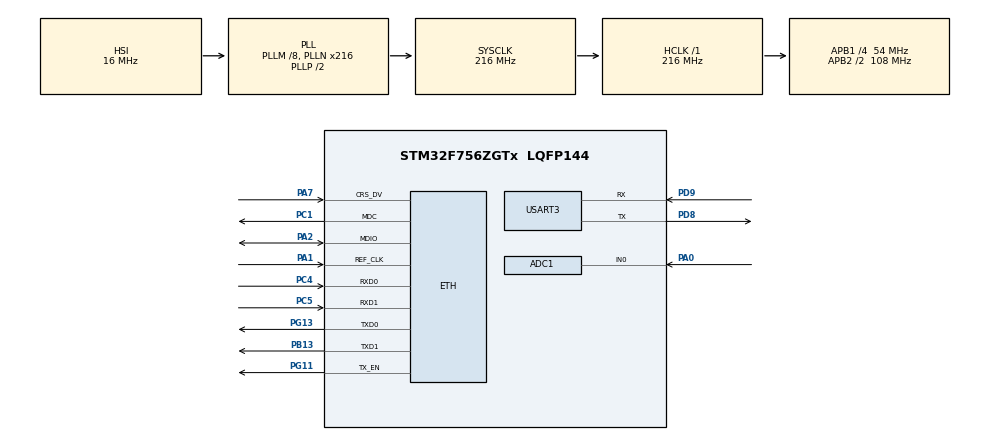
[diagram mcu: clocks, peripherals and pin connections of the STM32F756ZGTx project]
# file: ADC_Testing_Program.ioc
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ADC1.Channel-2\#ChannelRegularConversion=ADC_CHANNEL_0
ADC1.ContinuousConvMode=ENABLE
ADC1.DMAContinuousRequests=ENABLE
ADC1.EOCSelection=ADC_EOC_SEQ_CONV
ADC1.NbrOfConversionFlag=1
ADC1.Rank-2\#ChannelRegularConversion=1
ADC1.SamplingTime-2\#ChannelRegularConversion=ADC_SAMPLETIME_3CYCLES
ADC1.master=1
CRC.DefaultPolynomialUse=DEFAULT_POLYNOMIAL_DISABLE
CRC.InputDataInversionMode=CRC_INPUTDATA_INVERSION_BYTE
CRC.OutputDataInversionMode=CRC_OUTPUTDATA_INVERSION_ENABLE
Dma.ADC1.0.Direction=DMA_PERIPH_TO_MEMORY
Dma.ADC1.0.FIFOMode=DMA_FIFOMODE_DISABLE
Dma.ADC1.0.Instance=DMA2_Stream0
Dma.ADC1.0.MemDataAlignment=DMA_MDATAALIGN_HALFWORD
Dma.ADC1.0.MemInc=DMA_MINC_ENABLE
Dma.ADC1.0.Mode=DMA_NORMAL
Dma.ADC1.0.PeriphDataAlignment=DMA_PDATAALIGN_HALFWORD
Dma.ADC1.0.PeriphInc=DMA_PINC_DISABLE
Dma.ADC1.0.Priority=DMA_PRIORITY_LOW
Dma.Request0=ADC1
ETH.MediaInterface=HAL_ETH_RMII_MODE
FREERTOS.Tasks01=defaultTask,24,256,StartDefaultTask,Default,NULL,Dynamic,NULL,NULL
FREERTOS.configENABLE_FPU=1
FREERTOS.configTOTAL_HEAP_SIZE=0x10000
FREERTOS.configUSE_NEWLIB_REENTRANT=1
LWIP.BSP.number=1
LWIP.GATEWAY_ADDRESS=192.168.010.001
LWIP.IP_ADDRESS=192.168.010.002
LWIP.LWIP_DHCP=0
LWIP.NETMASK_ADDRESS=255.255.255.000
LWIP.Version=v2.1.2_Cube
LWIP0.BSP.STBoard=false
LWIP0.BSP.api=BSP_COMPONENT_DRIVER
LWIP0.BSP.component=LAN8742
LWIP0.BSP.instance=LAN8742
LWIP0.BSP.name=Driver_PHY
LWIP0.BSP.semaphore=S_LAN8742
LWIP0.BSP.solution=LAN8742
Mcu.Family=STM32F7
Mcu.Name=STM32F756ZGTx
Mcu.Package=LQFP144
NVIC.DMA2_Stream0_IRQn=true\:5\:0\:false\:false\:true\:true\:false\:true\:true
NVIC.ETH_IRQn=true\:5\:0\:true\:false\:true\:true\:true\:true\:true
NVIC.PriorityGroup=NVIC_PRIORITYGROUP_4
NVIC.TIM6_DAC_IRQn=true\:15\:0\:false\:false\:true\:false\:false\:true\:true
NVIC.TimeBase=TIM6_DAC_IRQn
NVIC.TimeBaseIP=TIM6
PA0/WKUP.Signal=ADCx_IN0
PA1.Mode=RMII
PA1.Signal=ETH_REF_CLK
PA2.Mode=RMII
PA2.Signal=ETH_MDIO
PA7.Mode=RMII
PA7.Signal=ETH_CRS_DV
PB10.GPIO_Pu=GPIO_PULLUP
PB10.Signal=I2C2_SCL
PB11.GPIO_Pu=GPIO_PULLUP
PB11.Signal=I2C2_SDA
PB13.Mode=RMII
PB13.Signal=ETH_TXD1
PB9.GPIO_Pu=GPIO_PULLUP
PB9.Signal=I2C1_SDA
PC1.Mode=RMII
PC1.Signal=ETH_MDC
PC10.Signal=UART4_TX
PC4.Mode=RMII
PC4.Signal=ETH_RXD0
PC5.Mode=RMII
PC5.Signal=ETH_RXD1
PD8.Mode=Asynchronous
PD8.Signal=USART3_TX
PD9.Mode=Asynchronous
PD9.Signal=USART3_RX
PG11.Mode=RMII
PG11.Signal=ETH_TX_EN
PG13.Mode=RMII
PG13.Signal=ETH_TXD0
ProjectManager.HeapSize=0x200
ProjectManager.StackSize=0x400
ProjectManager.TargetToolchain=STM32CubeIDE
RCC.AHBFreq_Value=216000000
RCC.APB1CLKDivider=RCC_HCLK_DIV4
RCC.APB1Freq_Value=54000000
RCC.APB1TimFreq_Value=108000000
RCC.APB2CLKDivider=RCC_HCLK_DIV2
RCC.APB2Freq_Value=108000000
RCC.APB2TimFreq_Value=216000000
RCC.CortexFreq_Value=216000000
RCC.HCLKFreq_Value=216000000
RCC.HSE_VALUE=25000000
RCC.HSI_VALUE=16000000
RCC.LSE_VALUE=32768
RCC.PLLM=8
RCC.PLLN=216
RCC.SYSCLKFreq_VALUE=216000000
RCC.SYSCLKSource=RCC_SYSCLKSOURCE_PLLCLK
RCC.USBFreq_Value=216000000
RCC.VCOOutputFreq_Value=432000000
SH.ADCx_IN0.0=ADC1_IN0,IN0
USART3.VirtualMode-Asynchronous=VM_ASYNC
VP_CRC_VS_CRC.Mode=CRC_Activate
VP_FREERTOS_VS_CMSIS_V2.Mode=CMSIS_V2
VP_LWIP_VS_Enabled.Mode=Enabled
VP_SYS_VS_tim6.Mode=TIM6
board=custom

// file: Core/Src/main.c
/* USER CODE BEGIN Header */
/**
  ******************************************************************************
  * @file           : main.c
  * @brief          : Main program body
  ******************************************************************************
  * @attention
  *
  * Copyright (c) 2026 STMicroelectronics.
  * All rights reserved.
  *
  * This software is licensed under terms that can be found in the LICENSE file
  * in the root directory of this software component.
  * If no LICENSE file comes with this software, it is provided AS-IS.
  *
  ******************************************************************************
  */
/* USER CODE END Header */
#include "main.h"
#include "cmsis_os.h"
#include "adc.h"
#include "crc.h"
#include "dma.h"
#include "lwip.h"
#include "usart.h"
#include "gpio.h"

/* USER CODE BEGIN PV */
extern TaskHandle_t TimerTaskHandle;
/* USER CODE END PV */

void SystemClock_Config(void);
void MX_FREERTOS_Init(void);

int main(void)
{

  /* MCU Configuration--------------------------------------------------------*/

  /* Reset of all peripherals, Initializes the Flash interface and the Systick. */
  HAL_Init();

  /* Configure the system clock */
  SystemClock_Config();

  /* Initialize all configured peripherals */
  MX_GPIO_Init();
  MX_DMA_Init();
  MX_USART3_UART_Init();
  MX_CRC_Init();
  MX_ADC1_Init();

  /* Init scheduler */
  osKernelInitialize();  /* Call init function for freertos objects (in cmsis_os2.c) */
  MX_FREERTOS_Init();

  /* Start scheduler */
  osKernelStart();

  /* We should never get here as control is now taken by the scheduler */

  /* Infinite loop */
  while (1)
  {

  }
}

void SystemClock_Config(void)
{
  RCC_OscInitTypeDef RCC_OscInitStruct = {0};
  RCC_ClkInitTypeDef RCC_ClkInitStruct = {0};

  /** Configure the main internal regulator output voltage
  */
  __HAL_RCC_PWR_CLK_ENABLE();
  __HAL_PWR_VOLTAGESCALING_CONFIG(PWR_REGULATOR_VOLTAGE_SCALE1);

  /** Initializes the RCC Oscillators according to the specified parameters
  * in the RCC_OscInitTypeDef structure.
  */
  RCC_OscInitStruct.OscillatorType = RCC_OSCILLATORTYPE_HSI;
  RCC_OscInitStruct.HSIState = RCC_HSI_ON;
  RCC_OscInitStruct.HSICalibrationValue = RCC_HSICALIBRATION_DEFAULT;
  RCC_OscInitStruct.PLL.PLLState = RCC_PLL_ON;
  RCC_OscInitStruct.PLL.PLLSource = RCC_PLLSOURCE_HSI;
  RCC_OscInitStruct.PLL.PLLM = 8;
  RCC_OscInitStruct.PLL.PLLN = 216;
  RCC_OscInitStruct.PLL.PLLP = RCC_PLLP_DIV2;
  RCC_OscInitStruct.PLL.PLLQ = 2;
  if (HAL_RCC_OscConfig(&RCC_OscInitStruct) != HAL_OK)
  {
    Error_Handler();
  }

  /** Activate the Over-Drive mode
  */
  if (HAL_PWREx_EnableOverDrive() != HAL_OK)
  {
    Error_Handler();
  }

  /** Initializes the CPU, AHB and APB buses clocks
  */
  RCC_ClkInitStruct.ClockType = RCC_CLOCKTYPE_HCLK|RCC_CLOCKTYPE_SYSCLK
                              |RCC_CLOCKTYPE_PCLK1|RCC_CLOCKTYPE_PCLK2;
  RCC_ClkInitStruct.SYSCLKSource = RCC_SYSCLKSOURCE_PLLCLK;
  RCC_ClkInitStruct.AHBCLKDivider = RCC_SYSCLK_DIV1;
  RCC_ClkInitStruct.APB1CLKDivider = RCC_HCLK_DIV4;
  RCC_ClkInitStruct.APB2CLKDivider = RCC_HCLK_DIV2;

  if (HAL_RCC_ClockConfig(&RCC_ClkInitStruct, FLASH_LATENCY_7) != HAL_OK)
  {
    Error_Handler();
  }
}

void HAL_TIM_PeriodElapsedCallback(TIM_HandleTypeDef *htim)
{
  if (htim->Instance == TIM6)
  {
    HAL_IncTick();
  }
}

void Error_Handler(void)
{
  __disable_irq();
  while (1)
  {
  }
}

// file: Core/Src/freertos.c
/* USER CODE BEGIN Header */
/**
  ******************************************************************************
  * File Name          : freertos.c
  * Description        : Code for freertos applications
  ******************************************************************************
  * @attention
  *
  * Copyright (c) 2026 STMicroelectronics.
  * All rights reserved.
  *
  * This software is licensed under terms that can be found in the LICENSE file
  * in the root directory of this software component.
  * If no LICENSE file comes with this software, it is provided AS-IS.
  *
  ******************************************************************************
  */
/* USER CODE END Header */

#include "FreeRTOS.h"
#include "task.h"
#include "main.h"
#include "cmsis_os.h"

/* USER CODE BEGIN Includes */
#include "uut_task.h"
#include "pc_test_uut.h"
#include "queue.h"
#include "lwip/udp.h"
#include <string.h>
/* USER CODE END Includes */

/* USER CODE BEGIN PD */
#define QUEUE_COUNT     5
#define QUEUE_ITEM_SIZE sizeof(packet_t)
/* USER CODE END PD */

/* USER CODE BEGIN Variables */
TaskHandle_t  adcTaskHandle;
QueueHandle_t adcQueueHandle;
uint16_t      g_pc_port;
ip_addr_t     g_pc_ip_addr;
/* USER CODE END Variables */
/* Definitions for defaultTask */
osThreadId_t defaultTaskHandle;
const osThreadAttr_t defaultTask_attributes = {
  .name = "defaultTask",
  .stack_size = 256 * 4,
  .priority = (osPriority_t) osPriorityNormal,
};

/* USER CODE BEGIN FunctionPrototypes */

void StartADCTask(void *argument);
void udp_listener_init(void);
void udp_receive_callback(void *arg, struct udp_pcb *upcb, struct pbuf *p,
                          const ip_addr_t *addr, u16_t port);
/* USER CODE END FunctionPrototypes */

void StartDefaultTask(void *argument);

extern void MX_LWIP_Init(void);
void MX_FREERTOS_Init(void); /* (MISRA C 2004 rule 8.1) */

void MX_FREERTOS_Init(void) {

  /* USER CODE BEGIN RTOS_QUEUES */
	/* add queues, ... */
	adcQueueHandle = xQueueCreate(QUEUE_COUNT, QUEUE_ITEM_SIZE);
  /* USER CODE END RTOS_QUEUES */

  /* Create the thread(s) */
  /* creation of defaultTask */
  defaultTaskHandle = osThreadNew(StartDefaultTask, NULL, &defaultTask_attributes);

  /* USER CODE BEGIN RTOS_THREADS */
	/* add threads, ... */
	xTaskCreate(StartADCTask,
				"ADCTask",
				configMINIMAL_STACK_SIZE * 4,
	            NULL, osPriorityNormal1,
				&adcTaskHandle);
  /* USER CODE END RTOS_THREADS */

}

void StartDefaultTask(void *argument)
{
  /* init code for LWIP */
  MX_LWIP_Init();
  /* USER CODE BEGIN StartDefaultTask */
	/* Initialize UDP Listener */
	udp_listener_init();
	/* Infinite loop */
    for (;;) {
        osDelay(1);
    }
  /* USER CODE END StartDefaultTask */
}

/* USER CODE BEGIN Application */
/**
 * @brief  Initializes the lwIP UDP listener on UUT_PORT.
 *
 * Must be called from defaultTask only (lwIP context).
 * Registers udp_receive_callback to handle all incoming packets.
 */
void udp_listener_init(void)
{
    struct udp_pcb *upcb = udp_new();

    printf("UUT: Setting up UDP listener on port %d...\r\n", UUT_PORT);

    if (upcb == NULL) {
        printf("ERROR: Could not allocate UDP PCB\r\n");
        return;
    }

    err_t err = udp_bind(upcb, IP_ADDR_ANY, UUT_PORT);
    if (err != ERR_OK) {
        printf("ERROR: UDP bind failed (err=%d)\r\n", err);
        return;
    }

    udp_recv(upcb, udp_receive_callback, NULL);
    printf("UUT: UDP listener ready\r\n");
}

/**
 * @brief  UDP receive callback — called by lwIP when a packet arrives.
 *
 * Validates the minimum packet size and CRC, then routes the command
 * to the appropriate peripheral queue.
 *
 * @param  arg   Unused.
 * @param  upcb  UDP PCB that received the packet (unused).
 * @param  p     Received pbuf chain — must be freed before returning.
 * @param  addr  Source IP address of the sender.
 * @param  port  Source port of the sender — saved to g_pc_port.
 */
void udp_receive_callback(void *arg, struct udp_pcb *upcb, struct pbuf *p,
                          const ip_addr_t *addr, u16_t port)
{
    (void)arg;
    (void)upcb;

    if (p == NULL) {
        return;
    }

    packet_t *rcv_packet = (packet_t *)p->payload;
    printf("\r\nNetwork: packet received (opcode=%d, length=%d)\r\n",
           rcv_packet->opcode, rcv_packet->length);

    /* Minimum packet: Opcode(1) + Length(2) + CRC(4) = 7 bytes */
    if (p->len < 7) {
        printf("WARNING: packet too small (length=%d)\r\n", p->len);
        pbuf_free(p);
        return;
    }

    g_pc_port    = port;
    g_pc_ip_addr = *addr;

    /* Validate CRC */
    uint32_t payload_len = p->len - 4;
    uint8_t *payload_ptr = (uint8_t *)p->payload;
    uint32_t rx_crc, calc_crc;
    memcpy(&rx_crc, payload_ptr + payload_len, 4);
    calc_crc = UUT_ComputeCRC(payload_ptr, payload_len);

    if (calc_crc != rx_crc) {
        printf("WARNING: CRC mismatch (rx=%lu, calc=%lu)\r\n", rx_crc, calc_crc);
        pbuf_free(p);
        return;
    }

    /* Copy packet and free pbuf */
    packet_t cmd;
    memset(&cmd, 0, sizeof(cmd));
    uint16_t safe_len = (payload_len > sizeof(cmd)) ? sizeof(cmd) : (uint16_t)payload_len;
    memcpy(&cmd, p->payload, safe_len);
    pbuf_free(p);

    /* Route to the correct peripheral queue */
    if (cmd.opcode == ADC_TEST) {
        if (xQueueSendToBack(adcQueueHandle, &cmd, 0) != pdPASS) {
            printf("WARNING: ADC queue full!\r\n");
        }
    }
}
/* USER CODE END Application */
